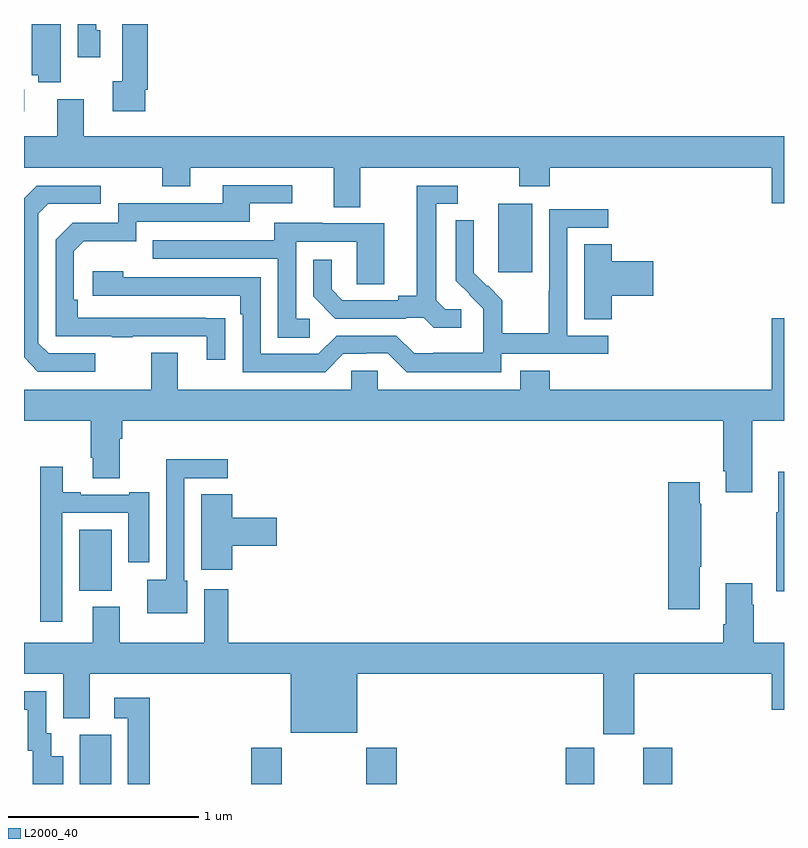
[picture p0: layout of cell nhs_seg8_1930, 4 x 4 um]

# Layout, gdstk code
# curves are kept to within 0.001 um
import gdstk
lib = gdstk.Library(unit=1e-6, precision=1e-09)
def R(c, l, rs):  # rectangles x0, y0, x1, y1
    for r in rs: c.add(gdstk.rectangle(r[:2], r[2:], *l))
def P(c, l, *ps):  # polygons
    for p in ps: c.add(gdstk.Polygon(p, *l))
L2000_40 = (2000, 40)

nhs_seg8_1930 = lib.new_cell('nhs_seg8_1930')
R(nhs_seg8_1930, L2000_40, [(233.294,1135.9,233.458,1136.16), (234.197,1135.9,234.357,1136.092), (234.802,1135.9,234.962,1136.092), (235.85,1135.9,236.002,1136.091), (236.258,1135.9,236.411,1136.091), (233.291,1136.918,233.461,1137.238), (235.496,1138.593,235.675,1138.954), (233,1139.441,233.002,1139.556)])
P(nhs_seg8_1930, L2000_40, [(233.4,1139.868),(233.379,1139.868),(233.379,1139.9),(233.283,1139.9),(233.283,1139.724),(233.4,1139.724)],
  [(233.638,1139.554),(233.651,1139.554),(233.651,1139.9),(233.516,1139.9),(233.516,1139.598),(233.466,1139.598),(233.466,1139.442),(233.638,1139.442)],
  [(233.194,1139.9),(233.042,1139.9),(233.042,1139.63),(233.074,1139.63),(233.074,1139.593),(233.194,1139.593)],
  [(234.769,1139.144),(235.606,1139.144),(235.606,1139.045),(235.766,1139.045),(235.766,1139.144),(236.936,1139.144),(236.936,1138.956),(237,1138.956),(237,1139.308),(233.314,1139.308),(233.314,1139.503),(233.174,1139.503),(233.174,1139.308),(233,1139.308),(233,1139.144),(233.728,1139.144),(233.728,1139.045),(233.875,1139.045),(233.875,1139.144),(234.629,1139.144),(234.629,1138.936),(234.769,1138.936)],
  [(234.059,1138.352),(233.282,1138.353),(233.282,1138.45),(233.262,1138.45),(233.262,1138.704),(233.315,1138.757),(233.592,1138.757),(233.592,1138.86),(234.187,1138.86),(234.187,1138.956),(234.412,1138.956),(234.412,1139.052),(234.047,1139.052),(234.047,1138.956),(233.496,1138.956),(233.496,1138.854),(233.256,1138.854),(233.166,1138.764),(233.166,1138.257),(233.461,1138.257),(233.461,1138.252),(233.573,1138.252),(233.573,1138.257),(233.963,1138.257),(233.963,1138.134),(234.059,1138.134)],
  [(233.374,1138.167),(233.13,1138.167),(233.076,1138.221),(233.076,1138.902),(233.127,1138.953),(233.404,1138.953),(233.404,1139.049),(233.067,1139.049),(233,1138.982),(233,1138.145),(233.073,1138.071),(233.374,1138.071)],
  [(235.3,1138.398),(235.218,1138.398),(235.171,1138.445),(235.171,1138.953),(235.282,1138.953),(235.282,1139.049),(235.067,1139.049),(235.067,1138.469),(234.971,1138.469),(234.971,1138.446),(234.676,1138.446),(234.619,1138.503),(234.619,1138.66),(234.522,1138.66),(234.522,1138.466),(234.638,1138.35),(235.01,1138.35),(235.01,1138.353),(235.104,1138.353),(235.156,1138.301),(235.3,1138.301)],
  [(235.512,1138.164),(236.074,1138.164),(236.074,1138.26),(235.86,1138.26),(235.86,1138.827),(236.074,1138.827),(236.074,1138.926),(235.764,1138.926),(235.764,1138.496),(235.762,1138.496),(235.762,1138.273),(235.517,1138.273),(235.517,1138.447),(235.44,1138.524),(235.437,1138.521),(235.367,1138.592),(235.368,1138.868),(235.272,1138.868),(235.272,1138.55),(235.418,1138.402),(235.418,1138.305),(235.416,1138.305),(235.416,1138.171),(235.153,1138.171),(235.153,1138.167),(235.053,1138.167),(234.96,1138.26),(234.645,1138.26),(234.549,1138.164),(234.246,1138.164),(234.246,1138.566),(233.522,1138.566),(233.522,1138.6),(233.361,1138.6),(233.361,1138.47),(234.137,1138.47),(234.137,1138.373),(234.15,1138.373),(234.15,1138.068),(234.585,1138.068),(234.681,1138.164),(234.8,1138.164),(234.8,1138.167),(234.915,1138.167),(235.015,1138.067),(235.512,1138.067)],
  [(234.505,1138.35),(234.432,1138.35),(234.432,1138.755),(234.75,1138.755),(234.75,1138.531),(234.895,1138.531),(234.895,1138.851),(234.571,1138.851),(234.571,1138.855),(234.317,1138.855),(234.317,1138.761),(233.677,1138.761),(233.677,1138.665),(234.336,1138.665),(234.336,1138.249),(234.505,1138.249)],
  [(236.093,1138.469),(236.311,1138.469),(236.311,1138.652),(236.093,1138.652),(236.093,1138.742),(235.949,1138.742),(235.949,1138.345),(236.093,1138.345)],
  [(236.833,1137.812),(237,1137.812),(237,1138.351),(236.936,1138.351),(236.936,1137.976),(235.766,1137.976),(235.766,1138.075),(235.613,1138.075),(235.613,1137.976),(234.861,1137.976),(234.861,1138.074),(234.723,1138.074),(234.723,1137.976),(233.809,1137.976),(233.809,1138.171),(233.669,1138.171),(233.669,1137.976),(233,1137.976),(233,1137.812),(233.351,1137.812),(233.351,1137.616),(233.363,1137.616),(233.363,1137.508),(233.503,1137.508),(233.503,1137.716),(233.516,1137.716),(233.516,1137.812),(236.681,1137.812),(236.681,1137.547),(236.693,1137.547),(236.693,1137.435),(236.833,1137.435)],
  [(233.86,1136.97),(233.844,1136.97),(233.844,1137.51),(234.073,1137.51),(234.073,1137.608),(233.748,1137.608),(233.748,1136.974),(233.648,1136.974),(233.648,1136.798),(233.86,1136.798)],
  [(233.202,1137.327),(233.549,1137.327),(233.549,1137.066),(233.659,1137.066),(233.659,1137.436),(233.555,1137.436),(233.555,1137.423),(233.299,1137.423),(233.299,1137.436),(233.203,1137.436),(233.203,1137.571),(233.086,1137.571),(233.086,1136.754),(233.202,1136.754)],
  [(237,1137.544),(236.969,1137.544),(236.969,1137.331),(236.958,1137.331),(236.958,1136.915),(237,1136.915)],
  [(236.557,1137.043),(236.565,1137.043),(236.565,1137.374),(236.557,1137.374),(236.557,1137.487),(236.39,1137.487),(236.39,1136.82),(236.557,1136.82)],
  [(234.095,1137.155),(234.331,1137.155),(234.331,1137.302),(234.095,1137.302),(234.095,1137.425),(233.933,1137.425),(233.933,1137.027),(234.095,1137.027)],
  [(236.212,1136.48),(236.936,1136.48),(236.936,1136.292),(237,1136.292),(237,1136.644),(236.841,1136.644),(236.841,1136.843),(236.833,1136.843),(236.833,1136.956),(236.693,1136.956),(236.693,1136.74),(236.681,1136.74),(236.681,1136.644),(234.074,1136.644),(234.074,1136.926),(233.948,1136.926),(233.948,1136.644),(233.503,1136.644),(233.503,1136.833),(233.363,1136.833),(233.363,1136.644),(233,1136.644),(233,1136.48),(233.207,1136.48),(233.207,1136.245),(233.347,1136.245),(233.347,1136.48),(234.404,1136.48),(234.404,1136.171),(234.754,1136.171),(234.754,1136.48),(236.048,1136.48),(236.048,1136.163),(236.212,1136.163)],
  [(233.206,1136.047),(233.143,1136.047),(233.143,1136.166),(233.118,1136.166),(233.118,1136.388),(233,1136.388),(233,1136.292),(233.021,1136.292),(233.021,1136.076),(233.045,1136.076),(233.045,1135.9),(233.206,1135.9)],
  [(233.663,1136.353),(233.475,1136.353),(233.475,1136.247),(233.547,1136.247),(233.547,1135.9),(233.663,1135.9)])

lib.write_gds('nhs_seg8_1930.gds')
